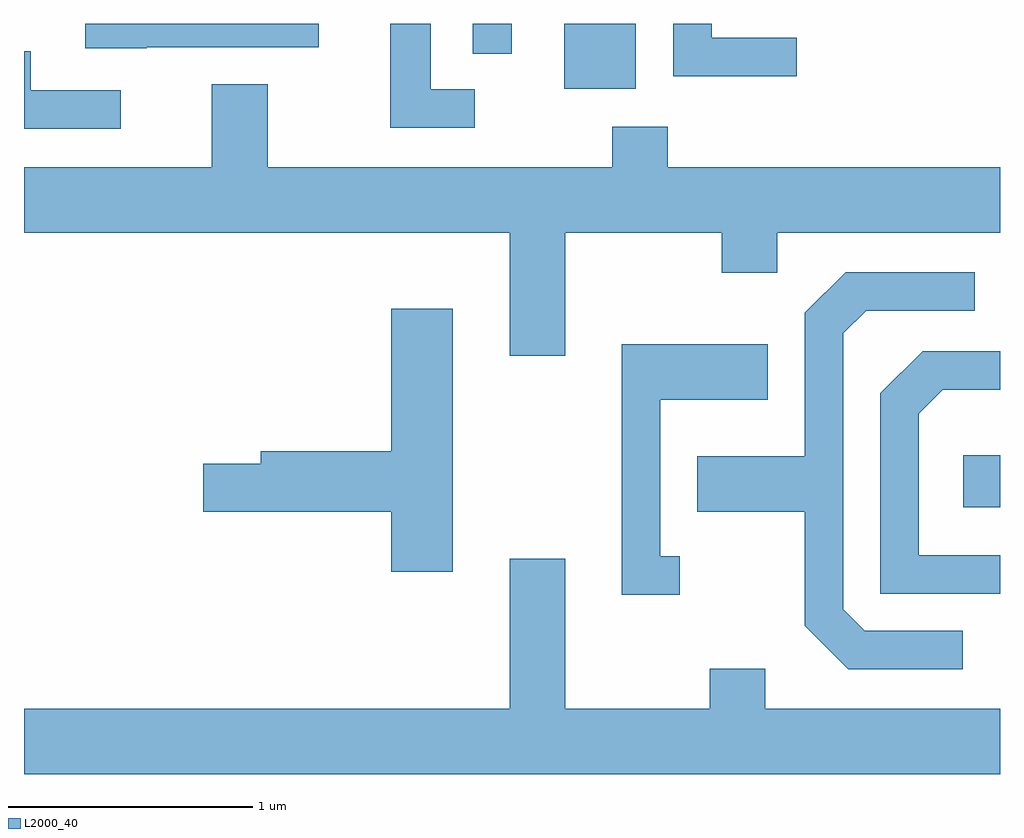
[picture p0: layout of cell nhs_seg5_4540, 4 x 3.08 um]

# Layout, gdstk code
import gdstk
lib = gdstk.Library(unit=1e-6, precision=1e-09)
def R(c, l, rs):  # rectangles x0, y0, x1, y1
    for r in rs: c.add(gdstk.rectangle(r[:2], r[2:], *l))
def P(c, l, *ps):  # polygons
    for p in ps: c.add(gdstk.Polygon(p, *l))
L2000_40 = (2000, 40)

nhs_seg5_4540 = lib.new_cell('nhs_seg5_4540')
R(nhs_seg5_4540, L2000_40, [(323.461,1480.091,323.611,1480.304), (321.826,1481.806,322.119,1482.072), (321.451,1481.948,321.609,1482.072)])
P(nhs_seg5_4540, L2000_40, [(320.115,1481.976),(320.819,1481.976),(320.819,1482.072),(319.861,1482.072),(319.861,1481.971),(320.115,1481.971)],
  [(321.458,1481.804),(321.279,1481.804),(321.279,1482.072),(321.111,1482.072),(321.111,1481.646),(321.458,1481.646)],
  [(322.778,1482.014),(322.429,1482.014),(322.429,1482.072),(322.271,1482.072),(322.271,1481.856),(322.778,1481.856)],
  [(320.008,1481.799),(319.639,1481.799),(319.639,1481.959),(319.611,1481.959),(319.611,1481.641),(320.008,1481.641)],
  [(321.829,1481.216),(322.471,1481.216),(322.471,1481.051),(322.699,1481.051),(322.699,1481.216),(323.611,1481.216),(323.611,1481.484),(322.249,1481.484),(322.249,1481.649),(322.021,1481.649),(322.021,1481.484),(320.609,1481.484),(320.609,1481.824),(320.381,1481.824),(320.381,1481.484),(319.611,1481.484),(319.611,1481.216),(321.601,1481.216),(321.601,1480.711),(321.829,1480.711)],
  [(323.458,1479.584),(323.057,1479.584),(322.969,1479.672),(322.969,1480.804),(323.062,1480.896),(323.508,1480.896),(323.508,1481.054),(322.979,1481.054),(322.811,1480.887),(322.811,1480.299),(322.371,1480.299),(322.371,1480.071),(322.811,1480.071),(322.811,1479.604),(322.989,1479.426),(323.458,1479.426)],
  [(321.369,1480.904),(321.116,1480.904),(321.116,1480.319),(320.581,1480.319),(320.581,1480.269),(320.346,1480.269),(320.346,1480.071),(321.116,1480.071),(321.116,1479.826),(321.369,1479.826)],
  [(322.298,1479.889),(322.219,1479.889),(322.219,1480.531),(322.659,1480.531),(322.659,1480.759),(322.061,1480.759),(322.061,1479.731),(322.298,1479.731)],
  [(323.611,1479.894),(323.279,1479.894),(323.279,1480.474),(323.377,1480.571),(323.611,1480.571),(323.611,1480.729),(323.294,1480.729),(323.121,1480.557),(323.121,1479.736),(323.611,1479.736)],
  [(323.611,1479.264),(322.649,1479.264),(322.649,1479.429),(322.421,1479.429),(322.421,1479.264),(321.829,1479.264),(321.829,1479.879),(321.601,1479.879),(321.601,1479.264),(319.611,1479.264),(319.611,1478.996),(323.611,1478.996)])

lib.write_gds('nhs_seg5_4540.gds')
